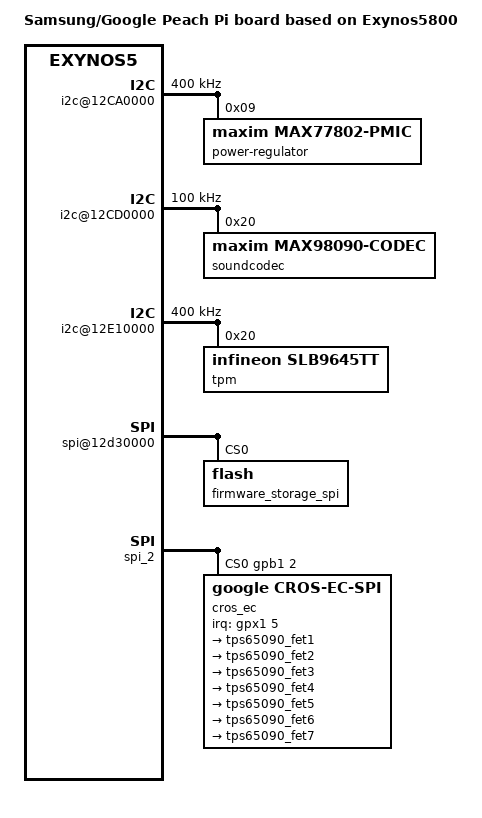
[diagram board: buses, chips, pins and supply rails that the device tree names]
/*
 * SAMSUNG/GOOGLE Peach-Pit board device tree source
 *
 * Copyright (c) 2013 Samsung Electronics Co., Ltd.
 *		http://www.samsung.com
 *
 * SPDX-License-Identifier:	GPL-2.0+
 */

/dts-v1/;
#include "exynos54xx.dtsi"

/ {
	model = "Samsung/Google Peach Pi board based on Exynos5800";
	cpu-model = "Exynos5800";

	compatible = "google,pit-rev#", "google,pit",
		"google,peach", "samsung,exynos5800", "samsung,exynos5";

	config {
		google,bad-wake-gpios = <&gpx0 6 GPIO_ACTIVE_HIGH>;
		hwid = "PIT TEST A-A 7848";
		lazy-init = <1>;
	};

	aliases {
		serial0 = "/serial@12C30000";
		console = "/serial@12C30000";
		pmic = "/i2c@12CA0000";
		i2c104 = &i2c_tunnel;
	};

	dmc {
		mem-manuf = "samsung";
		mem-type = "ddr3";
		clock-frequency = <800000000>;
		arm-frequency = <900000000>;
	};

	tmu@10060000 {
		samsung,min-temp	= <25>;
		samsung,max-temp	= <125>;
		samsung,start-warning	= <95>;
		samsung,start-tripping	= <105>;
		samsung,hw-tripping	= <110>;
		samsung,efuse-min-value	= <40>;
		samsung,efuse-value	= <55>;
		samsung,efuse-max-value	= <100>;
		samsung,slope		= <274761730>;
		samsung,dc-value	= <25>;
	};

	/* MAX77802 is on i2c bus 4 */
	i2c@12CA0000 {
		clock-frequency = <400000>;
		power-regulator@9 {
			compatible = "maxim,max77802-pmic";
			reg = <0x9>;
		};
	};

	i2c@12CD0000 { /* i2c7 */
		clock-frequency = <100000>;
	       soundcodec@20 {
	              reg = <0x20>;
	              compatible = "maxim,max98090-codec";
	       };
	};

        sound@3830000 {
                samsung,codec-type = "max98090";
        };

	i2c@12E10000 { /* i2c9 */
		clock-frequency = <400000>;
		tpm@20 {
			compatible = "infineon,slb9645tt";
			reg = <0x20>;
		};
	};

	spi@12d30000 { /* spi1 */
		spi-max-frequency = <50000000>;
		firmware_storage_spi: flash@0 {
			reg = <0>;

			/*
			 * A region for the kernel to store a panic event
			 * which the firmware will add to the log.
			*/
			elog-panic-event-offset = <0x01e00000 0x100000>;

			elog-shrink-size = <0x400>;
			elog-full-threshold = <0xc00>;
		};
	};

	xhci@12000000 {
		samsung,vbus-gpio = <&gph0 0 GPIO_ACTIVE_HIGH>;
	};

	xhci@12400000 {
		samsung,vbus-gpio = <&gph0 1 GPIO_ACTIVE_HIGH>;
	};

	fimd@14400000 {
		samsung,vl-freq = <60>;
		samsung,vl-col = <1920>;
		samsung,vl-row = <1080>;
		samsung,vl-width = <1920>;
		samsung,vl-height = <1080>;

		samsung,vl-clkp;
		samsung,vl-dp;
		samsung,vl-bpix = <4>;

		samsung,vl-hspw = <80>;
		samsung,vl-hbpd = <172>;
		samsung,vl-hfpd = <60>;
		samsung,vl-vspw = <10>;
		samsung,vl-vbpd = <25>;
		samsung,vl-vfpd = <10>;
		samsung,vl-cmd-allow-len = <0xf>;

		samsung,power-on-delay = <30000>;
		samsung,winid = <3>;
		samsung,interface-mode = <1>;
		samsung,dp-enabled = <1>;
		samsung,dual-lcd-enabled = <0>;

		samsung,bl-en-gpio = <&gpx2 2 GPIO_ACTIVE_HIGH>;
	};
};

&spi_2 {
	spi-max-frequency = <3125000>;
	spi-deactivate-delay = <200>;
	status = "okay";
	num-cs = <1>;
	samsung,spi-src-clk = <0>;
	cs-gpios = <&gpb1 2 0>;

	cros_ec: cros-ec@0 {
		compatible = "google,cros-ec-spi";
		interrupt-parent = <&gpx1>;
		interrupts = <5 0>;
		reg = <0>;
		spi-half-duplex;
		spi-max-timeout-ms = <1100>;
		ec-interrupt = <&gpx1 5 GPIO_ACTIVE_LOW>;

		/*
		 * This describes the flash memory within the EC. Note
		 * that the STM32L flash erases to 0, not 0xff.
		 */
		#address-cells = <1>;
		#size-cells = <1>;
		flash@8000000 {
			reg = <0x08000000 0x20000>;
			erase-value = <0>;
		};

		controller-data {
			samsung,spi-feedback-delay = <1>;
		};

		i2c_tunnel: i2c-tunnel {
			compatible = "google,cros-ec-i2c-tunnel";
			#address-cells = <1>;
			#size-cells = <0>;
			google,remote-bus = <0>;

			battery: sbs-battery@b {
				compatible = "sbs,sbs-battery";
				reg = <0xb>;
				sbs,poll-retry-count = <1>;
				sbs,i2c-retry-count = <2>;
			};

			power-regulator@48 {
				compatible = "ti,tps65090";
				reg = <0x48>;

				regulators {
					tps65090_dcdc1: dcdc1 {
						ti,enable-ext-control;
					};
					tps65090_dcdc2: dcdc2 {
						ti,enable-ext-control;
					};
					tps65090_dcdc3: dcdc3 {
						ti,enable-ext-control;
					};
					tps65090_fet1: fet1 {
						regulator-name = "vcd_led";
					};
					tps65090_fet2: fet2 {
						regulator-name = "video_mid";
						regulator-always-on;
					};
					tps65090_fet3: fet3 {
						regulator-name = "wwan_r";
						regulator-always-on;
					};
					tps65090_fet4: fet4 {
						regulator-name = "sdcard";
						regulator-always-on;
					};
					tps65090_fet5: fet5 {
						regulator-name = "camout";
						regulator-always-on;
					};
					tps65090_fet6: fet6 {
						regulator-name = "lcd_vdd";
					};
					tps65090_fet7: fet7 {
						regulator-name = "video_mid_1a";
						regulator-always-on;
					};
					tps65090_ldo1: ldo1 {
					};
					tps65090_ldo2: ldo2 {
					};
				};

				charger {
					compatible = "ti,tps65090-charger";
				};
			};
		};
	};
};

#include "cros-ec-keyboard.dtsi"
